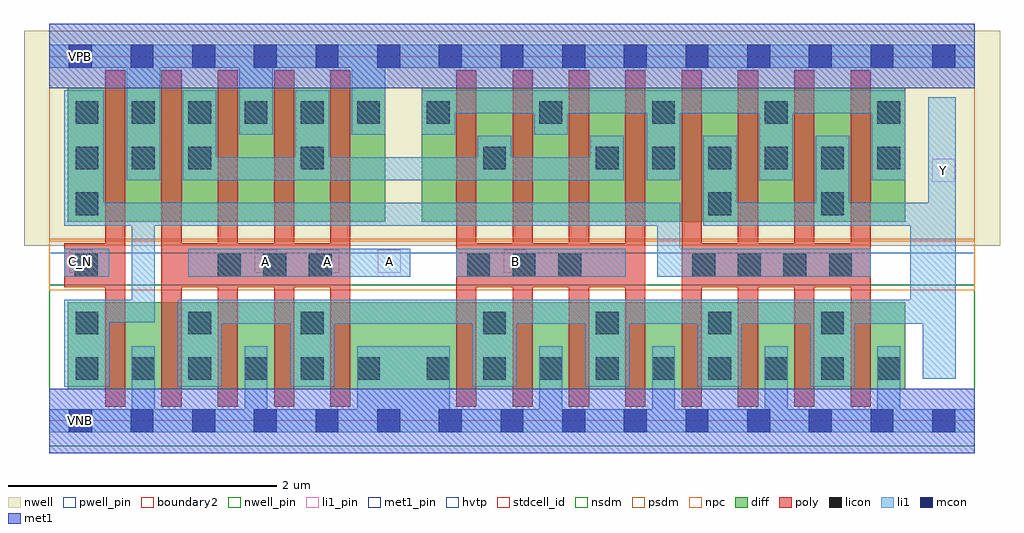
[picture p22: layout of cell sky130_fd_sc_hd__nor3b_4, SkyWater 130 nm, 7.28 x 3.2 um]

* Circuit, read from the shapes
.subckt sky130_fd_sc_hd__nor3b_4 A B C_N VGND VNB VPB VPWR Y
XM1 VGND C_N n1 VNB sky130_fd_pr__nfet_01v8 w=0.65 l=0.15
XM2 Y A VGND VNB sky130_fd_pr__nfet_01v8 w=0.65 l=0.15 m=4
XM3 Y B VGND VNB sky130_fd_pr__nfet_01v8 w=0.65 l=0.15 m=4
XM4 Y n1 VGND VNB sky130_fd_pr__nfet_01v8 w=0.65 l=0.15 m=4
XM5 VPWR C_N n1 VPB sky130_fd_pr__pfet_01v8_hvt w=1 l=0.15
XM6 n2 A VPWR VPB sky130_fd_pr__pfet_01v8_hvt w=1 l=0.15 m=4
XM7 n2 B n3 VPB sky130_fd_pr__pfet_01v8_hvt w=1 l=0.15 m=4
XM8 Y n1 n3 VPB sky130_fd_pr__pfet_01v8_hvt w=1 l=0.15 m=4
.ends

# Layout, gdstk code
import gdstk
lib = gdstk.Library(unit=1e-6, precision=1e-09)
def R(c, l, rs):  # rectangles x0, y0, x1, y1
    for r in rs: c.add(gdstk.rectangle(r[:2], r[2:], *l))
def A(c, l, x, y, w, h, nx, ny, dx, dy):  # array of equal rectangles
    R(c, l, [(x+i*dx, y+j*dy, x+i*dx+w, y+j*dy+h) for i in range(nx) for j in range(ny)])
def P(c, l, *ps):  # polygons
    for p in ps: c.add(gdstk.Polygon(p, *l))
nwell_pin = (64, 16)
nwell = (64, 20)
diff = (65, 20)
poly = (66, 20)
licon = (66, 44)
li1_pin = (67, 16)
li1 = (67, 20)
mcon = (67, 44)
met1_pin = (68, 16)
met1 = (68, 20)
hvtp = (78, 44)
stdcell_id = (81, 4)
nsdm = (93, 44)
psdm = (94, 20)
npc = (95, 20)
pwell_pin = (122, 16)
boundary2 = (236, 0)

sky130_fd_sc_hd__nor3b_4 = lib.new_cell('sky130_fd_sc_hd__nor3b_4')
R(sky130_fd_sc_hd__nor3b_4, nwell_pin, [(0.15,2.635,0.32,2.805)])
R(sky130_fd_sc_hd__nor3b_4, nwell, [(-0.19,1.305,7.09,2.91)])
R(sky130_fd_sc_hd__nor3b_4, diff, [(0.135,0.235,6.385,0.885), (0.135,1.485,2.505,2.485), (2.775,1.485,6.385,2.485)])
P(sky130_fd_sc_hd__nor3b_4, poly, [(0.565,2.615),(0.415,2.615),(0.415,1.325),(0.11,1.325),(0.11,0.995),(0.415,0.995),(0.415,0.105),(0.565,0.105)],
  [(2.245,2.615),(2.095,2.615),(2.095,1.325),(1.825,1.325),(1.825,2.615),(1.675,2.615),(1.675,1.325),(1.405,1.325),(1.405,2.615),(1.255,2.615),(1.255,1.325),(0.985,1.325),(0.985,2.615),(0.835,2.615),(0.835,0.105),(0.985,0.105),(0.985,0.995),(1.255,0.995),(1.255,0.105),(1.405,0.105),(1.405,0.995),(1.675,0.995),(1.675,0.105),(1.825,0.105),(1.825,0.995),(2.095,0.995),(2.095,0.105),(2.245,0.105)],
  [(4.445,2.615),(4.295,2.615),(4.295,1.325),(4.025,1.325),(4.025,2.615),(3.875,2.615),(3.875,1.325),(3.605,1.325),(3.605,2.615),(3.455,2.615),(3.455,1.325),(3.185,1.325),(3.185,2.615),(3.035,2.615),(3.035,0.105),(3.185,0.105),(3.185,0.995),(3.455,0.995),(3.455,0.105),(3.605,0.105),(3.605,0.995),(3.875,0.995),(3.875,0.105),(4.025,0.105),(4.025,0.995),(4.295,0.995),(4.295,0.105),(4.445,0.105)],
  [(6.125,2.615),(5.975,2.615),(5.975,1.325),(5.705,1.325),(5.705,2.615),(5.555,2.615),(5.555,1.325),(5.285,1.325),(5.285,2.615),(5.135,2.615),(5.135,1.325),(4.865,1.325),(4.865,2.615),(4.715,2.615),(4.715,0.105),(4.865,0.105),(4.865,0.995),(5.135,0.995),(5.135,0.105),(5.285,0.105),(5.285,0.995),(5.555,0.995),(5.555,0.105),(5.705,0.105),(5.705,0.995),(5.975,0.995),(5.975,0.105),(6.125,0.105)])
A(sky130_fd_sc_hd__nor3b_4, licon, 0.195, 0.305, 0.17, 0.17, 6, 2, 0.42, 1.91)
A(sky130_fd_sc_hd__nor3b_4, licon, 2.815, 0.305, 0.17, 0.17, 9, 1, 0.42, 0)
A(sky130_fd_sc_hd__nor3b_4, licon, 0.195, 0.645, 0.17, 0.17, 3, 1, 0.84, 0)
A(sky130_fd_sc_hd__nor3b_4, licon, 3.235, 0.645, 0.17, 0.17, 4, 1, 0.84, 0)
A(sky130_fd_sc_hd__nor3b_4, licon, 1.255, 1.075, 0.17, 0.17, 3, 1, 0.34, 0)
A(sky130_fd_sc_hd__nor3b_4, licon, 3.115, 1.075, 0.17, 0.17, 3, 1, 0.34, 0)
A(sky130_fd_sc_hd__nor3b_4, licon, 4.795, 1.075, 0.17, 0.17, 4, 1, 0.34, 0)
A(sky130_fd_sc_hd__nor3b_4, licon, 0.195, 1.875, 0.17, 0.17, 3, 1, 0.42, 0)
A(sky130_fd_sc_hd__nor3b_4, licon, 4.075, 1.875, 0.17, 0.17, 6, 1, 0.42, 0)
A(sky130_fd_sc_hd__nor3b_4, licon, 2.815, 2.215, 0.17, 0.17, 5, 1, 0.84, 0)
R(sky130_fd_sc_hd__nor3b_4, licon, [(0.19,1.075,0.36,1.245), (0.195,1.535,0.365,1.705), (4.915,1.535,5.085,1.705), (5.755,1.535,5.925,1.705), (1.875,1.875,2.045,2.045), (3.235,1.875,3.405,2.045)])
A(sky130_fd_sc_hd__nor3b_4, li1_pin, 1.53, 1.105, 0.17, 0.17, 3, 1, 0.46, 0)
R(sky130_fd_sc_hd__nor3b_4, li1_pin, [(0.15,1.105,0.32,1.275), (3.39,1.105,3.56,1.275), (6.585,1.785,6.755,1.955)])
R(sky130_fd_sc_hd__nor3b_4, li1, [(0.11,1.075,0.445,1.285), (1.035,1.075,2.69,1.285), (3.035,1.075,4.3,1.285)])
P(sky130_fd_sc_hd__nor3b_4, li1, [(6.9,2.805),(0,2.805),(0,2.635),(0.575,2.635),(0.575,1.795),(0.825,1.795),(0.825,2.635),(1.415,2.635),(1.415,2.135),(1.665,2.135),(1.665,2.635),(2.255,2.635),(2.255,2.135),(2.505,2.135),(2.505,2.635),(6.9,2.635)],
  [(6.76,2.415),(6.555,2.415),(6.555,1.625),(5.965,1.625),(5.965,2.125),(5.715,2.125),(5.715,1.625),(5.125,1.625),(5.125,2.125),(4.875,2.125),(4.875,1.455),(6.42,1.455),(6.42,0.905),(0.955,0.905),(0.955,0.255),(1.285,0.255),(1.285,0.725),(1.795,0.725),(1.795,0.255),(2.125,0.255),(2.125,0.725),(3.155,0.725),(3.155,0.255),(3.485,0.255),(3.485,0.725),(3.995,0.725),(3.995,0.255),(4.325,0.255),(4.325,0.725),(4.835,0.725),(4.835,0.255),(5.165,0.255),(5.165,0.725),(5.675,0.725),(5.675,0.255),(6.005,0.255),(6.005,0.725),(6.515,0.725),(6.515,0.315),(6.76,0.315)],
  [(4.285,2.125),(4.035,2.125),(4.035,1.965),(3.445,1.965),(3.445,2.125),(3.195,2.125),(3.195,1.965),(2.085,1.965),(2.085,2.465),(1.835,2.465),(1.835,1.965),(1.245,1.965),(1.245,2.465),(0.995,2.465),(0.995,1.795),(4.285,1.795)],
  [(6.125,1.285),(4.705,1.285),(4.705,1.625),(0.405,1.625),(0.405,2.465),(0.11,2.465),(0.11,1.455),(0.615,1.455),(0.615,0.905),(0.11,0.905),(0.11,0.255),(0.445,0.255),(0.445,0.735),(0.785,0.735),(0.785,1.455),(4.535,1.455),(4.535,1.075),(6.125,1.075)],
  [(6.9,0.085),(6.345,0.085),(6.345,0.555),(6.175,0.555),(6.175,0.085),(5.505,0.085),(5.505,0.555),(5.335,0.555),(5.335,0.085),(4.665,0.085),(4.665,0.555),(4.495,0.555),(4.495,0.085),(3.825,0.085),(3.825,0.555),(3.655,0.555),(3.655,0.085),(2.985,0.085),(2.985,0.555),(2.295,0.555),(2.295,0.085),(1.625,0.085),(1.625,0.555),(1.455,0.555),(1.455,0.085),(0.785,0.085),(0.785,0.555),(0.615,0.555),(0.615,0.085),(0,0.085),(0,-0.085),(6.9,-0.085)],
  [(6.385,2.465),(2.775,2.465),(2.775,2.135),(3.025,2.135),(3.025,2.295),(3.615,2.295),(3.615,2.135),(3.865,2.135),(3.865,2.295),(4.455,2.295),(4.455,1.795),(4.705,1.795),(4.705,2.295),(5.295,2.295),(5.295,1.795),(5.545,1.795),(5.545,2.295),(6.135,2.295),(6.135,1.795),(6.385,1.795)])
A(sky130_fd_sc_hd__nor3b_4, mcon, 0.145, -0.085, 0.17, 0.17, 15, 2, 0.46, 2.72)
R(sky130_fd_sc_hd__nor3b_4, met1_pin, [(0.15,-0.085,0.32,0.085), (0.15,2.635,0.32,2.805)])
R(sky130_fd_sc_hd__nor3b_4, hvtp, [(0,1.25,6.9,2.72)])
R(sky130_fd_sc_hd__nor3b_4, stdcell_id, [(0,0,6.9,2.72)])
R(sky130_fd_sc_hd__nor3b_4, nsdm, [(0,-0.19,6.9,1.015)])
R(sky130_fd_sc_hd__nor3b_4, psdm, [(0,1.355,6.9,2.91)])
R(sky130_fd_sc_hd__nor3b_4, npc, [(0,0.975,6.9,1.345)])
R(sky130_fd_sc_hd__nor3b_4, pwell_pin, [(0.15,-0.085,0.32,0.085)])
R(sky130_fd_sc_hd__nor3b_4, boundary2, [(0,0,6.9,2.72)])
sky130_fd_sc_hd__nor3b_4.add(gdstk.FlexPath([(0,2.72),(6.9,2.72)], 0.48, ends="flush", simple_path=True, layer=68, datatype=20))  # met1
sky130_fd_sc_hd__nor3b_4.add(gdstk.FlexPath([(0,0),(6.9,0)], 0.48, ends="flush", simple_path=True, layer=68, datatype=20))  # met1
sky130_fd_sc_hd__nor3b_4.add(gdstk.Label('A', (2.075,1.19), layer=67, texttype=5))
sky130_fd_sc_hd__nor3b_4.add(gdstk.Label('A', (2.535,1.19), layer=67, texttype=5))
sky130_fd_sc_hd__nor3b_4.add(gdstk.Label('A', (1.615,1.19), layer=67, texttype=5))
sky130_fd_sc_hd__nor3b_4.add(gdstk.Label('C_N', (0.23,1.19), layer=67, texttype=5))
sky130_fd_sc_hd__nor3b_4.add(gdstk.Label('B', (3.475,1.19), layer=67, texttype=5))
sky130_fd_sc_hd__nor3b_4.add(gdstk.Label('Y', (6.67,1.87), layer=67, texttype=5))
sky130_fd_sc_hd__nor3b_4.add(gdstk.Label('VPB', (0.235,2.72), layer=64, texttype=5))
sky130_fd_sc_hd__nor3b_4.add(gdstk.Label('VNB', (0.235,0), layer=64, texttype=59))
sky130_fd_sc_hd__nor3b_4.add(gdstk.Label('VGND', (0.23,0), layer=68, texttype=5))
sky130_fd_sc_hd__nor3b_4.add(gdstk.Label('VPWR', (0.235,2.72), layer=68, texttype=5))
sky130_fd_sc_hd__nor3b_4.add(gdstk.Label('nor3b_4', (0,0), layer=83, texttype=44))

lib.write_gds('sky130_fd_sc_hd__nor3b_4.gds')
